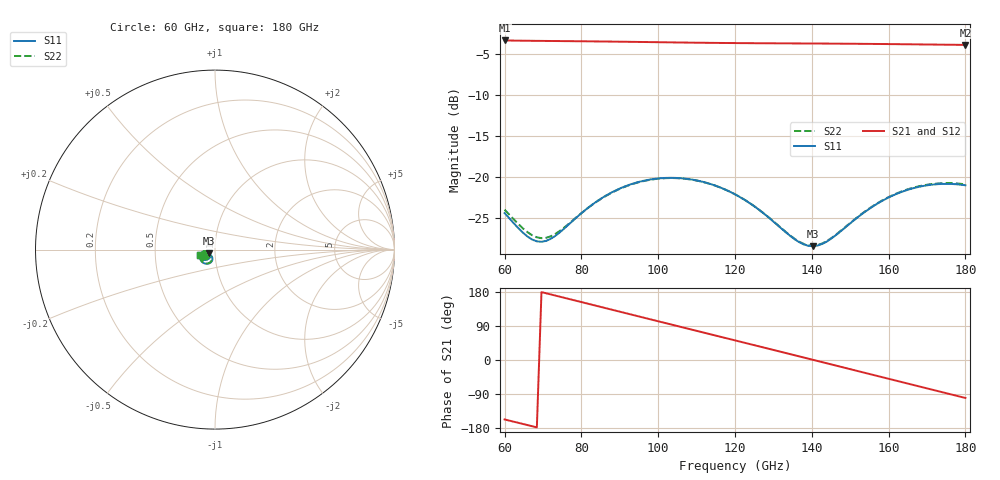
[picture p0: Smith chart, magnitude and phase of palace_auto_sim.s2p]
#  GHZ S DB R 50
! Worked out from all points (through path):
!   101 points, 60 GHz to 180 GHz, reference 50 ohm
!   highest |S21| = -3.29 dB at 60 GHz (marker M1); lowest = -3.8 dB at 180 GHz (marker M2)
!   group delay of S21, straight-line fit = 7.02 ps
!   lowest |S11| = -28.4 dB at 140.4 GHz (marker M3), VSWR 1.08, Z = 46.9 - j1.91 ohm
!   |S11| at or under -10 dB: start of sweep to end of sweep
!   |S22| runs from -28.4 to -20.1 dB; largest |S21 - S12| = 7.7e-14
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60  -24.38 -149.2  -3.29 -156.9  -3.29 -156.9  -23.97 -149.5
66  -27.26 -138.6  -3.33 -171.9  -3.33 -171.9  -26.73 -140.4
69.6  -27.89 -125.0  -3.35 179.1  -3.35 179.1  -27.45 -128.1
73.2  -27.17 -112.5  -3.36 170.0  -3.36 170.0  -26.93 -116.2
80.4  -24.24 -104.6  -3.39 151.8  -3.39 151.8  -24.24 -107.4
91.2  -21.15 -116.3  -3.45 124.5  -3.45 124.5  -21.19 -117.9
96  -20.45 -124.5  -3.48 112.3  -3.48 112.3  -20.49 -125.8
100.8  -20.12 -133.2  -3.51 100.2  -3.51 100.2  -20.15 -134.4
105.6  -20.11 -142.1  -3.54 88.0  -3.54 88.0  -20.14 -143.0
110.4  -20.43 -150.7  -3.57 75.9  -3.57 75.9  -20.45 -151.5
120  -22.09 -165.5  -3.61 51.8  -3.61 51.8  -22.08 -166.0
126  -23.89 -170.9  -3.63 36.7  -3.63 36.7  -23.87 -171.3
130.8  -25.74 -170.6  -3.64 24.5  -3.64 24.5  -25.71 -170.9
136.8  -27.96 -159.7  -3.66 9.4  -3.66 9.4  -27.90 -160.0
140.4  -28.43 -147.5  -3.66 0.2  -3.66 0.2  -28.36 -147.8
144  -27.83 -135.8  -3.67 -8.9  -3.67 -8.9  -27.78 -136.1
150  -25.64 -126.2  -3.69 -24.1  -3.69 -24.1  -25.59 -126.5
154.8  -23.92 -126.4  -3.71 -36.3  -3.71 -36.3  -23.87 -126.5
160.8  -22.30 -131.8  -3.74 -51.6  -3.74 -51.6  -22.24 -131.8
170.4  -20.97 -145.6  -3.79 -75.9  -3.79 -75.9  -20.89 -145.3
175.2  -20.81 -153.2  -3.81 -88.1  -3.81 -88.1  -20.72 -152.8
180  -20.99 -160.8  -3.83 -100.2  -3.83 -100.2  -20.88 -160.3
